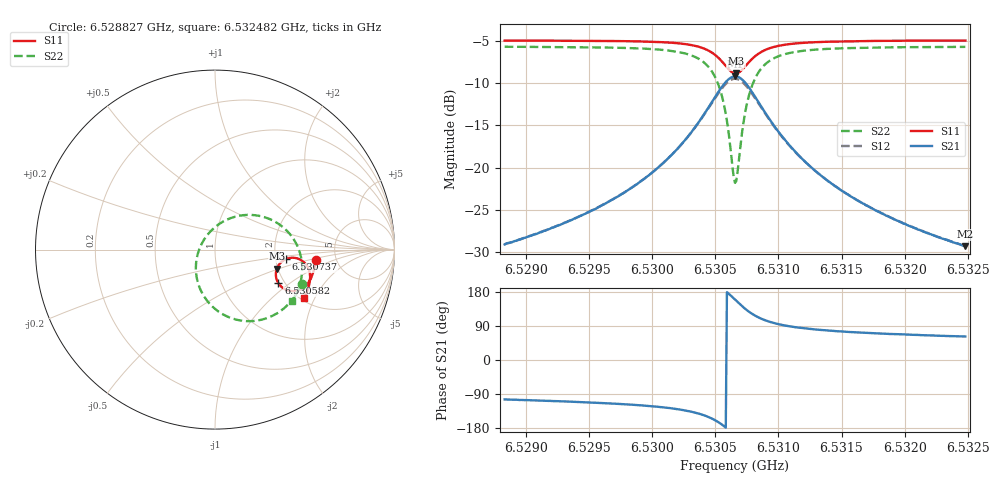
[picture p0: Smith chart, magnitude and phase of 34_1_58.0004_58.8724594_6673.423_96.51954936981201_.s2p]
#  HZ  S  RI  R  50.00
! Rohde & Schwarz Vector Network Analyzer
! Rohde-Schwarz,ZNB20-2Port,1311601062101988,3.16
! Created: UTC 3/21/2024, 12:51:48 AM
! freq[Hz]  re:S11  im:S11  re:S21  im:S21  re:S12  im:S12  re:S22  im:S22
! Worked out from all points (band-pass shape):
!   401 points, 6.528827 GHz to 6.532482 GHz, reference 50 ohm
!   highest |S21| = -9.20 dB at 6.530655 GHz (marker M1); lowest = -29.3 dB at 6.532482 GHz (marker M2)
!   |S21| within 3 dB of the highest: 6.530474 GHz to 6.530839 GHz (365.3 kHz wide, 0.00559 % of centre)
!   lowest |S11| = -8.9 dB at 6.530664 GHz (marker M3), VSWR 2.13, Z = 98.8 - j24 ohm
!   |S11| at or under -10 dB: nowhere
!   |S22| runs from -21.8 to -5.7 dB; largest |S21 - S12| = 0.015
!   S11 on the Smith chart (normalised r, x): 6.528827 GHz: 3.47, -0.61; 6.530582 GHz: 1.85, -0.83; 6.530737 GHz: 2.28, -0.29; 6.532482 GHz: 2.08, -1.66
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6.5288274e9  0.5609 -0.0594  -0.00848 -0.034  -0.00925 -0.0338  0.482 -0.1922
6.5294396e9  0.5513 -0.1126  -0.0189 -0.0485  -0.0201 -0.0482  0.4489 -0.2537
6.5297686e9  0.5409 -0.1454  -0.0314 -0.063  -0.0332 -0.0621  0.4156 -0.2968
6.5300519e9  0.5234 -0.1791  -0.056 -0.0838  -0.0586 -0.0822  0.3603 -0.3455
6.5302712e9  0.4933 -0.2114  -0.1033 -0.1076  -0.1067 -0.1037  0.265 -0.389
6.5304265e9  0.4435 -0.2308  -0.1834 -0.1144  -0.1859 -0.1062  0.1184 -0.3901
6.5305179e9  0.3918 -0.222  -0.2643 -0.0807  -0.2626 -0.0689  -0.0154 -0.3164
6.5305544e9  0.3686 -0.2059  -0.2993 -0.0461  -0.294 -0.0337  -0.067 -0.2504
6.5305819e9  0.3531 -0.1871  -0.3209 -0.00913  -0.3126 0.00264  -0.0952 -0.1843
6.5306367e9  0.3391 -0.1342  -0.3333 0.0875  -0.3201 0.0942  -0.0956 -0.0224
6.530655e9  0.3419 -0.115  -0.3246 0.1217  -0.3108 0.1258  -0.0747 0.0316
6.5306641e9  0.3448 -0.1056  -0.3175 0.1378  -0.3038 0.1407  -0.0603 0.0568
6.5306824e9  0.3536 -0.088  -0.2994 0.1677  -0.2861 0.1682  -0.0248 0.1019
6.5307006e9  0.3654 -0.0732  -0.2763 0.1927  -0.2641 0.1912  0.0177 0.1387
6.5307372e9  0.3944 -0.0531  -0.2227 0.2258  -0.2135 0.2217  0.112 0.1832
6.5308012e9  0.4448 -0.0461  -0.1344 0.2362  -0.1298 0.232  0.2613 0.1846
6.5308925e9  0.4914 -0.0666  -0.0552 0.2048  -0.0534 0.2024  0.3909 0.1144
6.5310296e9  0.5201 -0.1043  -0.00653 0.1523  -0.0053 0.1514  0.4643 0.00771
6.5312672e9  0.53 -0.1514  0.0149 0.098  0.0161 0.0977  0.4861 -0.1047
6.5315413e9  0.5265 -0.1877  0.0188 0.0673  0.0198 0.067  0.4781 -0.1751
6.5318794e9  0.5173 -0.2218  0.0185 0.0475  0.0192 0.0472  0.4614 -0.228
6.5324825e9  0.4964 -0.2706  0.016 0.0302  0.0167 0.0299  0.4299 -0.2888
